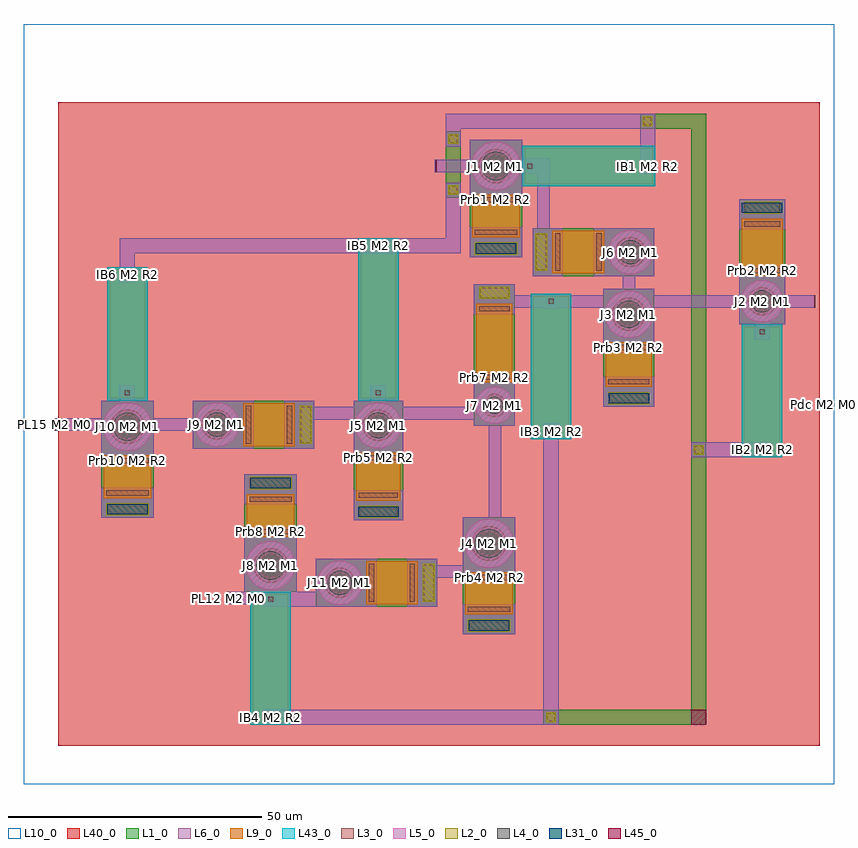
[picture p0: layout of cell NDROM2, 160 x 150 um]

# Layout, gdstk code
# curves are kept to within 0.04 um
from math import pi, radians
import gdstk
lib = gdstk.Library(unit=1e-6, precision=5e-10)
def R(c, l, rs):  # rectangles x0, y0, x1, y1
    for r in rs: c.add(gdstk.rectangle(r[:2], r[2:], *l))
def P(c, l, *ps):  # polygons
    for p in ps: c.add(gdstk.Polygon(p, *l))
L1_0 = (1, 0)
L2_0 = (2, 0)
L3_0 = (3, 0)
L4_0 = (4, 0)
L5_0 = (5, 0)
L6_0 = (6, 0)
L9_0 = (9, 0)
L10_0 = (10, 0)
L31_0 = (31, 0)
L40_0 = (40, 0)
L43_0 = (43, 0)
L45_0 = (45, 0)

pwrcell_pcell_0bb1 = lib.new_cell('pwrcell_pcell_0bb1')
R(pwrcell_pcell_0bb1, L1_0, [(-4,-1.5,4,24.7855)])
R(pwrcell_pcell_0bb1, L3_0, [(-0.5,-0.5,0.5,0.5), (-0.5,22.7855,0.5,23.7855)])
R(pwrcell_pcell_0bb1, L6_0, [(-1.5,-1.5,1.5,1.5), (-1.5,21.7855,1.5,24.7855)])
R(pwrcell_pcell_0bb1, L9_0, [(-3.5,-1,3.5,24.2855), (-1,-1,1,1), (-1,22.2855,1,24.2855)])
R(pwrcell_pcell_0bb1, L43_0, [(-4,-1.5,4,24.7855)])

pwrcell_pcell_d53e = lib.new_cell('pwrcell_pcell_d53e')
R(pwrcell_pcell_d53e, L1_0, [(-4,-1.5,4,30.5575)])
R(pwrcell_pcell_d53e, L3_0, [(-0.5,-0.5,0.5,0.5), (-0.5,28.5575,0.5,29.5575)])
R(pwrcell_pcell_d53e, L6_0, [(-1.5,-1.5,1.5,1.5), (-1.5,27.5575,1.5,30.5575)])
R(pwrcell_pcell_d53e, L9_0, [(-3.5,-1,3.5,30.0575), (-1,-1,1,1), (-1,28.0575,1,30.0575)])
R(pwrcell_pcell_d53e, L43_0, [(-4,-1.5,4,30.5575)])

jj_pcell_aa5c = lib.new_cell('jj_pcell_aa5c')
R(jj_pcell_aa5c, L1_0, [(-5.171,-5.171,5.171,5.171)])
P(jj_pcell_aa5c, L3_0, [(0,-3.424),(-0.668,-3.3585),(-1.3105,-3.1635),(-1.9025,-2.8465),(-2.421,-2.421),(-2.8465,-1.9025),(-3.1635,-1.3105),(-3.3585,-0.668),(-3.424,0),(-3.3585,0.668),(-3.1635,1.3105),(-2.8465,1.9025),(-2.421,2.421),(-1.9025,2.8465),(-1.3105,3.1635),(-0.668,3.3585),(0,3.424),(0.668,3.3585),(1.3105,3.1635),(1.9025,2.8465),(2.421,2.421),(2.8465,1.9025),(3.1635,1.3105),(3.3585,0.668),(3.424,0),(3.3585,-0.668),(3.1635,-1.3105),(2.8465,-1.9025),(2.421,-2.421),(1.9025,-2.8465),(1.3105,-3.1635),(0.668,-3.3585)])
P(jj_pcell_aa5c, L4_0, [(0,-2.821),(-0.5505,-2.767),(-1.0795,-2.6065),(-1.5675,-2.3455),(-1.9945,-1.9945),(-2.3455,-1.5675),(-2.6065,-1.0795),(-2.767,-0.5505),(-2.821,0),(-2.767,0.5505),(-2.6065,1.0795),(-2.3455,1.5675),(-1.9945,1.9945),(-1.5675,2.3455),(-1.0795,2.6065),(-0.5505,2.767),(0,2.821),(0.5505,2.767),(1.0795,2.6065),(1.5675,2.3455),(1.9945,1.9945),(2.3455,1.5675),(2.6065,1.0795),(2.767,0.5505),(2.821,0),(2.767,-0.5505),(2.6065,-1.0795),(2.3455,-1.5675),(1.9945,-1.9945),(1.5675,-2.3455),(1.0795,-2.6065),(0.5505,-2.767)])
P(jj_pcell_aa5c, L5_0, [(0,-4.871),(-0.9505,-4.7775),(-1.864,-4.5),(-2.706,-4.05),(-3.4445,-3.4445),(-4.05,-2.706),(-4.5,-1.864),(-4.7775,-0.9505),(-4.871,0),(-4.7775,0.9505),(-4.5,1.864),(-4.05,2.706),(-3.4445,3.4445),(-2.706,4.05),(-1.864,4.5),(-0.9505,4.7775),(0,4.871),(0.9505,4.7775),(1.864,4.5),(2.706,4.05),(3.4445,3.4445),(4.05,2.706),(4.2825,2.271),(0,2.271),(-0.443,2.2275),(-0.869,2.098),(-1.2615,1.8885),(-1.606,1.606),(-1.8885,1.2615),(-2.098,0.869),(-2.2275,0.443),(-2.271,0),(-2.2275,-0.443),(-2.098,-0.869),(-1.8885,-1.2615),(-1.606,-1.606),(-1.2615,-1.8885),(-0.869,-2.098),(-0.443,-2.2275),(0,-2.271),(0.443,-2.2275),(0.869,-2.098),(1.2615,-1.8885),(1.606,-1.606),(1.8885,-1.2615),(2.098,-0.869),(2.2275,-0.443),(2.271,0),(2.2275,0.443),(2.098,0.869),(1.8885,1.2615),(1.606,1.606),(1.2615,1.8885),(0.869,2.098),(0.443,2.2275),(0,2.271),(4.2825,2.271),(4.5,1.864),(4.7775,0.9505),(4.871,0),(4.7775,-0.9505),(4.5,-1.864),(4.05,-2.706),(3.4445,-3.4445),(2.706,-4.05),(1.864,-4.5),(0.9505,-4.7775)])
R(jj_pcell_aa5c, L6_0, [(-5.171,-5.171,5.171,5.171)])

jj_s_pcell_34fb = lib.new_cell('jj_s_pcell_34fb')
R(jj_s_pcell_34fb, L1_0, [(-5.171,-17.9765,5.171,-14.5765), (-5.171,-17.9765,5.171,5.171), (-5.171,-14.5765,5.171,-5.171)])
R(jj_s_pcell_34fb, L2_0, [(-4.171,-17.4765,4.171,-15.0765)])
R(jj_s_pcell_34fb, L3_0, [(-3.971,-17.2765,3.971,-15.2765), (-4.171,-13.5765,4.171,-12.5765), (-4.171,-7.171,4.171,-6.171)])
R(jj_s_pcell_34fb, L6_0, [(-5.171,-17.9765,5.171,-12.0765), (-5.171,-7.671,5.171,-5.171), (-5.171,-7.671,5.171,5.171)])
R(jj_s_pcell_34fb, L9_0, [(-4.671,-14.0765,4.671,-5.671)])
jj_s_pcell_34fb.add(gdstk.Reference(jj_pcell_aa5c, (0,0)))

jj_pcell_67a0 = lib.new_cell('jj_pcell_67a0')
R(jj_pcell_67a0, L1_0, [(-4.7435,-4.7435,4.7435,4.7435)])
P(jj_pcell_67a0, L3_0, [(0,-2.9965),(-0.5845,-2.939),(-1.1465,-2.7685),(-1.665,-2.491),(-2.119,-2.119),(-2.491,-1.665),(-2.7685,-1.1465),(-2.939,-0.5845),(-2.9965,0),(-2.939,0.5845),(-2.7685,1.1465),(-2.491,1.665),(-2.119,2.119),(-1.665,2.491),(-1.1465,2.7685),(-0.5845,2.939),(0,2.9965),(0.5845,2.939),(1.1465,2.7685),(1.665,2.491),(2.119,2.119),(2.491,1.665),(2.7685,1.1465),(2.939,0.5845),(2.9965,0),(2.939,-0.5845),(2.7685,-1.1465),(2.491,-1.665),(2.119,-2.119),(1.665,-2.491),(1.1465,-2.7685),(0.5845,-2.939)])
P(jj_pcell_67a0, L4_0, [(0,-2.3935),(-0.467,-2.3475),(-0.916,-2.2115),(-1.33,-1.99),(-1.6925,-1.6925),(-1.99,-1.33),(-2.2115,-0.916),(-2.3475,-0.467),(-2.3935,0),(-2.3475,0.467),(-2.2115,0.916),(-1.99,1.33),(-1.6925,1.6925),(-1.33,1.99),(-0.916,2.2115),(-0.467,2.3475),(0,2.3935),(0.467,2.3475),(0.916,2.2115),(1.33,1.99),(1.6925,1.6925),(1.99,1.33),(2.2115,0.916),(2.3475,0.467),(2.3935,0),(2.3475,-0.467),(2.2115,-0.916),(1.99,-1.33),(1.6925,-1.6925),(1.33,-1.99),(0.916,-2.2115),(0.467,-2.3475)])
P(jj_pcell_67a0, L5_0, [(0,-4.4435),(-0.867,-4.358),(-1.7005,-4.1055),(-2.4685,-3.6945),(-3.142,-3.142),(-3.6945,-2.4685),(-4.1055,-1.7005),(-4.358,-0.867),(-4.4435,0),(-4.358,0.867),(-4.1055,1.7005),(-3.6945,2.4685),(-3.142,3.142),(-2.4685,3.6945),(-1.7005,4.1055),(-0.867,4.358),(0,4.4435),(0.867,4.358),(1.7005,4.1055),(2.4685,3.6945),(3.142,3.142),(3.6945,2.4685),(4.029,1.8435),(0,1.8435),(-0.3595,1.808),(-1.024,1.533),(-1.533,1.024),(-1.808,0.3595),(-1.8435,0),(-1.703,-0.7055),(-1.3035,-1.3035),(-1.024,-1.533),(-0.3595,-1.808),(0.3595,-1.808),(1.024,-1.533),(1.533,-1.024),(1.703,-0.7055),(1.8435,0),(1.808,0.3595),(1.533,1.024),(1.024,1.533),(0.3595,1.808),(0,1.8435),(4.029,1.8435),(4.358,0.867),(4.4435,0),(4.358,-0.867),(4.1055,-1.7005),(3.6945,-2.4685),(3.142,-3.142),(2.4685,-3.6945),(1.7005,-4.1055),(0.867,-4.358)])
R(jj_pcell_67a0, L6_0, [(-4.7435,-4.7435,4.7435,4.7435)])

jj_s_pcell_e6a0 = lib.new_cell('jj_s_pcell_e6a0')
R(jj_s_pcell_e6a0, L1_0, [(-4.744,-19.2265,4.7435,4.744), (-4.7435,-19.2265,4.7435,-15.8265), (-4.7435,-15.8265,4.7435,-4.7435)])
R(jj_s_pcell_e6a0, L2_0, [(-3.7435,-18.7265,3.7435,-16.3265)])
R(jj_s_pcell_e6a0, L3_0, [(-3.5435,-18.5265,3.5435,-16.5265), (-3.7435,-14.8265,3.7435,-13.8265), (-3.7435,-6.7435,3.7435,-5.7435)])
R(jj_s_pcell_e6a0, L6_0, [(-4.7435,-19.2265,4.7435,-13.3265), (-4.744,-7.2435,4.7435,4.744), (-4.7435,-7.2435,4.7435,-4.7435)])
R(jj_s_pcell_e6a0, L9_0, [(-4.2435,-15.3265,4.2435,-5.2435)])
jj_s_pcell_e6a0.add(gdstk.Reference(jj_pcell_67a0, (0,0)))

jj_pcell_7414 = lib.new_cell('jj_pcell_7414')
R(jj_pcell_7414, L1_0, [(-4.8795,-4.8795,4.8795,4.8795)])
P(jj_pcell_7414, L3_0, [(0,-3.1325),(-0.611,-3.0725),(-1.199,-2.894),(-1.7405,-2.604),(-2.215,-2.215),(-2.604,-1.7405),(-2.894,-1.199),(-3.0725,-0.611),(-3.1325,0),(-3.0725,0.611),(-2.894,1.199),(-2.604,1.7405),(-2.215,2.215),(-1.7405,2.604),(-1.199,2.894),(-0.611,3.0725),(0,3.1325),(0.611,3.0725),(1.199,2.894),(1.7405,2.604),(2.215,2.215),(2.604,1.7405),(2.894,1.199),(3.0725,0.611),(3.1325,0),(3.0725,-0.611),(2.894,-1.199),(2.604,-1.7405),(2.215,-2.215),(1.7405,-2.604),(1.199,-2.894),(0.611,-3.0725)])
P(jj_pcell_7414, L4_0, [(0,-2.5295),(-0.4935,-2.481),(-0.968,-2.337),(-1.4055,-2.103),(-1.7885,-1.7885),(-2.103,-1.4055),(-2.337,-0.968),(-2.481,-0.4935),(-2.5295,0),(-2.481,0.4935),(-2.337,0.968),(-2.103,1.4055),(-1.7885,1.7885),(-1.4055,2.103),(-0.968,2.337),(-0.4935,2.481),(0,2.5295),(0.4935,2.481),(0.968,2.337),(1.4055,2.103),(1.7885,1.7885),(2.103,1.4055),(2.337,0.968),(2.481,0.4935),(2.5295,0),(2.481,-0.4935),(2.337,-0.968),(2.103,-1.4055),(1.7885,-1.7885),(1.4055,-2.103),(0.968,-2.337),(0.4935,-2.481)])
P(jj_pcell_7414, L5_0, [(0,-4.5795),(-0.8935,-4.4915),(-1.7525,-4.231),(-2.544,-3.8075),(-3.238,-3.238),(-3.8075,-2.544),(-4.231,-1.7525),(-4.4915,-0.8935),(-4.5795,0),(-4.4915,0.8935),(-4.231,1.7525),(-3.8075,2.544),(-3.238,3.238),(-2.544,3.8075),(-1.7525,4.231),(-0.8935,4.4915),(0,4.5795),(0.8935,4.4915),(1.7525,4.231),(2.544,3.8075),(3.238,3.238),(3.8075,2.544),(4.1095,1.9795),(0,1.9795),(-0.7575,1.829),(-1.1,1.646),(-1.646,1.1),(-1.829,0.7575),(-1.9795,0),(-1.829,-0.7575),(-1.3995,-1.3995),(-0.7575,-1.829),(0,-1.9795),(0.386,-1.9415),(1.1,-1.646),(1.646,-1.1),(1.829,-0.7575),(1.9795,0),(1.9415,0.386),(1.646,1.1),(1.1,1.646),(0.7575,1.829),(0,1.9795),(4.1095,1.9795),(4.4915,0.8935),(4.5795,0),(4.4915,-0.8935),(4.231,-1.7525),(3.8075,-2.544),(3.238,-3.238),(2.544,-3.8075),(1.7525,-4.231),(0.8935,-4.4915)])
R(jj_pcell_7414, L6_0, [(-4.8795,-4.8795,4.8795,4.8795)])

jj_s_pcell_0a7e = lib.new_cell('jj_s_pcell_0a7e')
R(jj_s_pcell_0a7e, L1_0, [(-4.8795,-18.7495,4.8795,-15.3495), (-4.8795,-18.7495,4.8795,4.8795), (-4.8795,-15.3495,4.8795,-4.8795)])
R(jj_s_pcell_0a7e, L2_0, [(-3.8795,-18.2495,3.8795,-15.8495)])
R(jj_s_pcell_0a7e, L3_0, [(-3.6795,-18.0495,3.6795,-16.0495), (-3.8795,-14.3495,3.8795,-13.3495), (-3.8795,-6.8795,3.8795,-5.8795)])
R(jj_s_pcell_0a7e, L6_0, [(-4.8795,-18.7495,4.8795,-12.8495), (-4.8795,-7.3795,4.8795,-4.8795), (-4.8795,-7.3795,4.8795,4.8795)])
R(jj_s_pcell_0a7e, L9_0, [(-4.3795,-14.8495,4.3795,-5.3795)])
jj_s_pcell_0a7e.add(gdstk.Reference(jj_pcell_7414, (0,0)))

jj_pcell_0a78 = lib.new_cell('jj_pcell_0a78')
R(jj_pcell_0a78, L1_0, [(-5.2155,-5.2155,5.2155,5.2155)])
P(jj_pcell_0a78, L3_0, [(0,-3.4685),(-0.6765,-3.402),(-1.3275,-3.2045),(-1.927,-2.8835),(-2.4525,-2.4525),(-2.8835,-1.927),(-3.2045,-1.3275),(-3.402,-0.6765),(-3.4685,0),(-3.402,0.6765),(-3.2045,1.3275),(-2.8835,1.927),(-2.4525,2.4525),(-1.927,2.8835),(-1.3275,3.2045),(-0.6765,3.402),(0,3.4685),(0.6765,3.402),(1.3275,3.2045),(1.927,2.8835),(2.4525,2.4525),(2.8835,1.927),(3.2045,1.3275),(3.402,0.6765),(3.4685,0),(3.402,-0.6765),(3.2045,-1.3275),(2.8835,-1.927),(2.4525,-2.4525),(1.927,-2.8835),(1.3275,-3.2045),(0.6765,-3.402)])
P(jj_pcell_0a78, L4_0, [(0,-2.8655),(-0.559,-2.8105),(-1.0965,-2.6475),(-1.592,-2.3825),(-2.026,-2.026),(-2.3825,-1.592),(-2.6475,-1.0965),(-2.8105,-0.559),(-2.8655,0),(-2.8105,0.559),(-2.6475,1.0965),(-2.3825,1.592),(-2.026,2.026),(-1.592,2.3825),(-1.0965,2.6475),(-0.559,2.8105),(0,2.8655),(0.559,2.8105),(1.0965,2.6475),(1.592,2.3825),(2.026,2.026),(2.3825,1.592),(2.6475,1.0965),(2.8105,0.559),(2.8655,0),(2.8105,-0.559),(2.6475,-1.0965),(2.3825,-1.592),(2.026,-2.026),(1.592,-2.3825),(1.0965,-2.6475),(0.559,-2.8105)])
P(jj_pcell_0a78, L5_0, [(0,-4.9155),(-0.959,-4.821),(-1.881,-4.5415),(-2.731,-4.087),(-3.476,-3.476),(-4.087,-2.731),(-4.5415,-1.881),(-4.821,-0.959),(-4.9155,0),(-4.821,0.959),(-4.5415,1.881),(-4.087,2.731),(-3.476,3.476),(-2.731,4.087),(-1.881,4.5415),(-0.959,4.821),(0,4.9155),(0.959,4.821),(1.881,4.5415),(2.731,4.087),(3.476,3.476),(4.087,2.731),(4.309,2.3155),(0,2.3155),(-0.4515,2.271),(-0.886,2.139),(-1.2865,1.9255),(-1.6375,1.6375),(-1.9255,1.2865),(-2.139,0.886),(-2.271,0.4515),(-2.3155,0),(-2.271,-0.4515),(-2.139,-0.886),(-1.9255,-1.2865),(-1.6375,-1.6375),(-1.2865,-1.9255),(-0.886,-2.139),(-0.4515,-2.271),(0,-2.3155),(0.4515,-2.271),(0.886,-2.139),(1.2865,-1.9255),(1.6375,-1.6375),(1.9255,-1.2865),(2.139,-0.886),(2.271,-0.4515),(2.3155,0),(2.271,0.4515),(2.139,0.886),(1.9255,1.2865),(1.6375,1.6375),(1.2865,1.9255),(0.886,2.139),(0.4515,2.271),(0,2.3155),(4.309,2.3155),(4.5415,1.881),(4.821,0.959),(4.9155,0),(4.821,-0.959),(4.5415,-1.881),(4.087,-2.731),(3.476,-3.476),(2.731,-4.087),(1.881,-4.5415),(0.959,-4.821)])
R(jj_pcell_0a78, L6_0, [(-5.2155,-5.2155,5.2155,5.2155)])

jj_s_pcell_64e8 = lib.new_cell('jj_s_pcell_64e8')
R(jj_s_pcell_64e8, L1_0, [(-5.216,-17.8825,5.2155,5.2155), (-5.2155,-17.8825,5.2155,-14.4825), (-5.2155,-14.4825,5.2155,-5.2155)])
R(jj_s_pcell_64e8, L2_0, [(-4.2155,-17.3825,4.2155,-14.9825)])
R(jj_s_pcell_64e8, L3_0, [(-4.0155,-17.1825,4.0155,-15.1825), (-4.2155,-13.4825,4.2155,-12.4825), (-4.2155,-7.2155,4.2155,-6.2155)])
R(jj_s_pcell_64e8, L6_0, [(-5.2155,-17.8825,5.2155,-11.9825), (-5.216,-7.7155,5.2155,5.216), (-5.2155,-7.7155,5.2155,-5.2155)])
R(jj_s_pcell_64e8, L9_0, [(-4.7155,-13.9825,4.7155,-5.7155)])
jj_s_pcell_64e8.add(gdstk.Reference(jj_pcell_0a78, (0,0)))

jj_pcell_78ef = lib.new_cell('jj_pcell_78ef')
R(jj_pcell_78ef, L1_0, [(-4.0425,-4.0425,4.0425,4.0425)])
P(jj_pcell_78ef, L3_0, [(0,-2.2955),(-0.448,-2.2515),(-0.878,-2.1205),(-1.275,-1.909),(-1.6235,-1.6235),(-1.909,-1.275),(-2.1205,-0.878),(-2.2515,-0.448),(-2.2955,0),(-2.2515,0.448),(-2.1205,0.878),(-1.909,1.275),(-1.6235,1.6235),(-1.275,1.909),(-0.878,2.1205),(-0.448,2.2515),(0,2.2955),(0.448,2.2515),(0.878,2.1205),(1.275,1.909),(1.6235,1.6235),(1.909,1.275),(2.1205,0.878),(2.2515,0.448),(2.2955,0),(2.2515,-0.448),(2.1205,-0.878),(1.909,-1.275),(1.6235,-1.6235),(1.275,-1.909),(0.878,-2.1205),(0.448,-2.2515)])
P(jj_pcell_78ef, L4_0, [(0,-1.6925),(-0.6475,-1.5635),(-1.197,-1.197),(-1.5635,-0.6475),(-1.6925,0),(-1.5635,0.6475),(-1.197,1.197),(-0.6475,1.5635),(0,1.6925),(0.6475,1.5635),(1.197,1.197),(1.5635,0.6475),(1.6925,0),(1.5635,-0.6475),(1.197,-1.197),(0.6475,-1.5635)])
P(jj_pcell_78ef, L5_0, [(0,-3.7425),(-0.73,-3.6705),(-1.432,-3.4575),(-2.079,-3.112),(-2.6465,-2.6465),(-3.112,-2.079),(-3.4575,-1.432),(-3.6705,-0.73),(-3.7425,0),(-3.6705,0.73),(-3.4575,1.432),(-3.112,2.079),(-2.6465,2.6465),(-2.079,3.112),(-1.432,3.4575),(-0.73,3.6705),(0,3.7425),(0.73,3.6705),(1.432,3.4575),(2.079,3.112),(2.6465,2.6465),(3.112,2.079),(3.4575,1.432),(3.5455,1.1425),(0,1.1425),(-0.437,1.0555),(-0.808,0.808),(-0.95,0.6345),(-1.1205,0.223),(-1.1205,-0.223),(-0.95,-0.6345),(-0.808,-0.808),(-0.6345,-0.95),(-0.223,-1.1205),(0.223,-1.1205),(0.6345,-0.95),(0.808,-0.808),(1.0555,-0.437),(1.1425,0),(1.1205,0.223),(0.95,0.6345),(0.6345,0.95),(0.223,1.1205),(0,1.1425),(3.5455,1.1425),(3.6705,0.73),(3.7425,0),(3.6705,-0.73),(3.4575,-1.432),(3.112,-2.079),(2.6465,-2.6465),(2.079,-3.112),(1.432,-3.4575),(0.73,-3.6705)])
R(jj_pcell_78ef, L6_0, [(-4.0425,-4.0425,4.0425,4.0425)])

jj_s_pcell_74b5 = lib.new_cell('jj_s_pcell_74b5')
R(jj_s_pcell_74b5, L1_0, [(-4.0425,-23.938,4.0425,-20.538), (-4.0425,-23.938,4.0425,4.0425), (-4.0425,-20.538,4.0425,-4.0425)])
R(jj_s_pcell_74b5, L2_0, [(-3.0425,-23.438,3.0425,-21.038)])
R(jj_s_pcell_74b5, L3_0, [(-2.8425,-23.238,2.8425,-21.238), (-3.0425,-19.538,3.0425,-18.538), (-3.0425,-6.0425,3.0425,-5.0425)])
R(jj_s_pcell_74b5, L6_0, [(-4.0425,-23.938,4.0425,-18.038), (-4.0425,-6.5425,4.0425,-4.0425), (-4.0425,-6.5425,4.0425,4.0425)])
R(jj_s_pcell_74b5, L9_0, [(-3.5425,-20.038,3.5425,-4.5425)])
jj_s_pcell_74b5.add(gdstk.Reference(jj_pcell_78ef, (0,0)))

jj_pcell_ac95 = lib.new_cell('jj_pcell_ac95')
R(jj_pcell_ac95, L1_0, [(-5.056,-5.056,5.056,5.056)])
P(jj_pcell_ac95, L3_0, [(0,-3.309),(-0.6455,-3.2455),(-1.266,-3.057),(-1.8385,-2.7515),(-2.34,-2.34),(-2.7515,-1.8385),(-3.057,-1.266),(-3.2455,-0.6455),(-3.309,0),(-3.2455,0.6455),(-3.057,1.266),(-2.7515,1.8385),(-2.34,2.34),(-1.8385,2.7515),(-1.266,3.057),(-0.6455,3.2455),(0,3.309),(0.6455,3.2455),(1.266,3.057),(1.8385,2.7515),(2.34,2.34),(2.7515,1.8385),(3.057,1.266),(3.2455,0.6455),(3.309,0),(3.2455,-0.6455),(3.057,-1.266),(2.7515,-1.8385),(2.34,-2.34),(1.8385,-2.7515),(1.266,-3.057),(0.6455,-3.2455)])
P(jj_pcell_ac95, L4_0, [(0,-2.706),(-0.528,-2.654),(-1.0355,-2.5),(-1.5035,-2.25),(-1.9135,-1.9135),(-2.25,-1.5035),(-2.5,-1.0355),(-2.654,-0.528),(-2.706,0),(-2.654,0.528),(-2.5,1.0355),(-2.25,1.5035),(-1.9135,1.9135),(-1.5035,2.25),(-1.0355,2.5),(-0.528,2.654),(0,2.706),(0.528,2.654),(1.0355,2.5),(1.5035,2.25),(1.9135,1.9135),(2.25,1.5035),(2.5,1.0355),(2.654,0.528),(2.706,0),(2.654,-0.528),(2.5,-1.0355),(2.25,-1.5035),(1.9135,-1.9135),(1.5035,-2.25),(1.0355,-2.5),(0.528,-2.654)])
P(jj_pcell_ac95, L5_0, [(0,-4.756),(-0.928,-4.6645),(-1.82,-4.394),(-2.6425,-3.9545),(-3.363,-3.363),(-3.9545,-2.6425),(-4.394,-1.82),(-4.6645,-0.928),(-4.756,0),(-4.6645,0.928),(-4.394,1.82),(-3.9545,2.6425),(-3.363,3.363),(-2.6425,3.9545),(-1.82,4.394),(-0.928,4.6645),(0,4.756),(0.928,4.6645),(1.82,4.394),(2.6425,3.9545),(3.363,3.363),(3.9545,2.6425),(4.2145,2.156),(0,2.156),(-0.4205,2.1145),(-0.825,1.992),(-1.198,1.7925),(-1.5245,1.5245),(-1.7925,1.198),(-1.992,0.825),(-2.1145,0.4205),(-2.156,0),(-2.1145,-0.4205),(-1.992,-0.825),(-1.7925,-1.198),(-1.5245,-1.5245),(-1.198,-1.7925),(-0.825,-1.992),(-0.4205,-2.1145),(0,-2.156),(0.4205,-2.1145),(0.825,-1.992),(1.198,-1.7925),(1.5245,-1.5245),(1.7925,-1.198),(1.992,-0.825),(2.1145,-0.4205),(2.156,0),(2.1145,0.4205),(1.992,0.825),(1.7925,1.198),(1.5245,1.5245),(1.198,1.7925),(0.825,1.992),(0.4205,2.1145),(0,2.156),(4.2145,2.156),(4.394,1.82),(4.6645,0.928),(4.756,0),(4.6645,-0.928),(4.394,-1.82),(3.9545,-2.6425),(3.363,-3.363),(2.6425,-3.9545),(1.82,-4.394),(0.928,-4.6645)])
R(jj_pcell_ac95, L6_0, [(-5.056,-5.056,5.056,5.056)])

jj_s_pcell_bb5e = lib.new_cell('jj_s_pcell_bb5e')
R(jj_s_pcell_bb5e, L1_0, [(-5.056,-18.247,5.056,-14.847), (-5.0555,-18.247,5.056,5.0555), (-5.056,-14.847,5.056,-5.056)])
R(jj_s_pcell_bb5e, L2_0, [(-4.056,-17.747,4.056,-15.347)])
R(jj_s_pcell_bb5e, L3_0, [(-3.856,-17.547,3.856,-15.547), (-4.056,-13.847,4.056,-12.847), (-4.056,-7.056,4.056,-6.056)])
R(jj_s_pcell_bb5e, L6_0, [(-5.056,-18.247,5.056,-12.347), (-5.056,-7.556,5.056,-5.056), (-5.0555,-7.556,5.056,5.0555)])
R(jj_s_pcell_bb5e, L9_0, [(-4.556,-14.347,4.556,-5.556)])
jj_s_pcell_bb5e.add(gdstk.Reference(jj_pcell_ac95, (0,0)))

jj_pcell_f3ba = lib.new_cell('jj_pcell_f3ba')
R(jj_pcell_f3ba, L1_0, [(-4.7235,-4.7235,4.7235,4.7235)])
P(jj_pcell_f3ba, L3_0, [(0,-2.9765),(-0.5805,-2.9195),(-1.1395,-2.75),(-1.6535,-2.475),(-2.105,-2.105),(-2.475,-1.6535),(-2.75,-1.1395),(-2.9195,-0.5805),(-2.9765,0),(-2.9195,0.5805),(-2.75,1.1395),(-2.475,1.6535),(-2.105,2.105),(-1.6535,2.475),(-1.1395,2.75),(-0.5805,2.9195),(0,2.9765),(0.5805,2.9195),(1.1395,2.75),(1.6535,2.475),(2.105,2.105),(2.475,1.6535),(2.75,1.1395),(2.9195,0.5805),(2.9765,0),(2.9195,-0.5805),(2.75,-1.1395),(2.475,-1.6535),(2.105,-2.105),(1.6535,-2.475),(1.1395,-2.75),(0.5805,-2.9195)])
P(jj_pcell_f3ba, L4_0, [(0,-2.3735),(-0.463,-2.328),(-0.9085,-2.193),(-1.3185,-1.9735),(-1.6785,-1.6785),(-1.9735,-1.3185),(-2.193,-0.9085),(-2.328,-0.463),(-2.3735,0),(-2.328,0.463),(-2.193,0.9085),(-1.9735,1.3185),(-1.6785,1.6785),(-1.3185,1.9735),(-0.9085,2.193),(-0.463,2.328),(0,2.3735),(0.463,2.328),(0.9085,2.193),(1.3185,1.9735),(1.6785,1.6785),(1.9735,1.3185),(2.193,0.9085),(2.328,0.463),(2.3735,0),(2.328,-0.463),(2.193,-0.9085),(1.9735,-1.3185),(1.6785,-1.6785),(1.3185,-1.9735),(0.9085,-2.193),(0.463,-2.328)])
P(jj_pcell_f3ba, L5_0, [(0,-4.4235),(-0.863,-4.3385),(-1.693,-4.087),(-2.4575,-3.678),(-3.128,-3.128),(-3.678,-2.4575),(-4.087,-1.693),(-4.3385,-0.863),(-4.4235,0),(-4.3385,0.863),(-4.087,1.693),(-3.678,2.4575),(-3.128,3.128),(-2.4575,3.678),(-1.693,4.087),(-0.863,4.3385),(0,4.4235),(0.863,4.3385),(1.693,4.087),(2.4575,3.678),(3.128,3.128),(3.678,2.4575),(4.0175,1.8235),(0,1.8235),(-0.3555,1.7885),(-1.013,1.516),(-1.516,1.013),(-1.7885,0.3555),(-1.7885,-0.3555),(-1.6845,-0.698),(-1.2895,-1.2895),(-0.698,-1.6845),(-0.3555,-1.7885),(0.3555,-1.7885),(0.698,-1.6845),(1.2895,-1.2895),(1.6845,-0.698),(1.7885,-0.3555),(1.7885,0.3555),(1.516,1.013),(1.2895,1.2895),(0.698,1.6845),(0,1.8235),(4.0175,1.8235),(4.3385,0.863),(4.4235,0),(4.3385,-0.863),(4.087,-1.693),(3.678,-2.4575),(3.128,-3.128),(2.4575,-3.678),(1.693,-4.087),(0.863,-4.3385)])
R(jj_pcell_f3ba, L6_0, [(-4.7235,-4.7235,4.7235,4.7235)])

jj_s_pcell_7e54 = lib.new_cell('jj_s_pcell_7e54')
R(jj_s_pcell_7e54, L1_0, [(-4.7235,-19.305,4.7235,-15.905), (-4.7235,-19.305,4.7235,4.7235), (-4.7235,-15.905,4.7235,-4.7235)])
R(jj_s_pcell_7e54, L2_0, [(-3.7235,-18.805,3.7235,-16.405)])
R(jj_s_pcell_7e54, L3_0, [(-3.5235,-18.605,3.5235,-16.605), (-3.7235,-14.905,3.7235,-13.905), (-3.7235,-6.7235,3.7235,-5.7235)])
R(jj_s_pcell_7e54, L6_0, [(-4.7235,-19.305,4.7235,-13.405), (-4.7235,-7.2235,4.7235,-4.7235), (-4.7235,-7.2235,4.7235,4.7235)])
R(jj_s_pcell_7e54, L9_0, [(-4.2235,-15.405,4.2235,-5.2235)])
jj_s_pcell_7e54.add(gdstk.Reference(jj_pcell_f3ba, (0,0)))

ind2_pcell_750f = lib.new_cell('ind2_pcell_750f')
R(ind2_pcell_750f, L6_0, [(-7,-1.25,-6.999,1.25), (-7,-1.25,7,1.25), (6.999,-1.25,7,1.25)])

pwrcell_pcell_a26d = lib.new_cell('pwrcell_pcell_a26d')
R(pwrcell_pcell_a26d, L1_0, [(-4,-1.5,4,27.1835)])
R(pwrcell_pcell_a26d, L3_0, [(-0.5,-0.5,0.5,0.5), (-0.5,25.1835,0.5,26.1835)])
R(pwrcell_pcell_a26d, L6_0, [(-1.5,-1.5,1.5,1.5), (-1.5,24.1835,1.5,27.1835)])
R(pwrcell_pcell_a26d, L9_0, [(-3.5,-1,3.5,26.6835), (-1,-1,1,1), (-1,24.6835,1,26.6835)])
R(pwrcell_pcell_a26d, L43_0, [(-4,-1.5,4,27.1835)])

ind2_pcell_3b20 = lib.new_cell('ind2_pcell_3b20')
R(ind2_pcell_3b20, L6_0, [(-2.5,-1.25,-2.499,1.25), (-2.5,-1.25,2.5,1.25), (2.499,-1.25,2.5,1.25)])

jj_pcell_084e = lib.new_cell('jj_pcell_084e')
R(jj_pcell_084e, L1_0, [(-4.535,-4.535,4.535,4.535)])
P(jj_pcell_084e, L3_0, [(0,-2.788),(-0.5445,-2.7345),(-1.0665,-2.5755),(-1.549,-2.3185),(-1.9715,-1.9715),(-2.3185,-1.549),(-2.5755,-1.0665),(-2.7345,-0.5445),(-2.788,0),(-2.7345,0.5445),(-2.5755,1.0665),(-2.3185,1.549),(-1.9715,1.9715),(-1.549,2.3185),(-1.0665,2.5755),(-0.5445,2.7345),(0,2.788),(0.5445,2.7345),(1.0665,2.5755),(1.549,2.3185),(1.9715,1.9715),(2.3185,1.549),(2.5755,1.0665),(2.7345,0.5445),(2.788,0),(2.7345,-0.5445),(2.5755,-1.0665),(2.3185,-1.549),(1.9715,-1.9715),(1.549,-2.3185),(1.0665,-2.5755),(0.5445,-2.7345)])
P(jj_pcell_084e, L4_0, [(0,-2.185),(-0.4265,-2.143),(-0.836,-2.0185),(-1.214,-1.817),(-1.545,-1.545),(-1.817,-1.214),(-2.0185,-0.836),(-2.143,-0.4265),(-2.185,0),(-2.143,0.4265),(-2.0185,0.836),(-1.817,1.214),(-1.545,1.545),(-1.214,1.817),(-0.836,2.0185),(-0.4265,2.143),(0,2.185),(0.4265,2.143),(0.836,2.0185),(1.214,1.817),(1.545,1.545),(1.817,1.214),(2.0185,0.836),(2.143,0.4265),(2.185,0),(2.143,-0.4265),(2.0185,-0.836),(1.817,-1.214),(1.545,-1.545),(1.214,-1.817),(0.836,-2.0185),(0.4265,-2.143)])
P(jj_pcell_084e, L5_0, [(0,-4.235),(-0.826,-4.1535),(-1.6205,-3.9125),(-2.353,-3.5215),(-2.9945,-2.9945),(-3.5215,-2.353),(-3.9125,-1.6205),(-4.1535,-0.826),(-4.235,0),(-4.1535,0.826),(-3.9125,1.6205),(-3.5215,2.353),(-2.9945,2.9945),(-2.353,3.5215),(-1.6205,3.9125),(-0.826,4.1535),(0,4.235),(0.826,4.1535),(1.6205,3.9125),(2.353,3.5215),(2.9945,2.9945),(3.5215,2.353),(3.905,1.635),(0,1.635),(-0.319,1.6035),(-0.9085,1.3595),(-1.3595,0.9085),(-1.6035,0.319),(-1.635,0),(-1.5105,-0.6255),(-1.156,-1.156),(-0.9085,-1.3595),(-0.319,-1.6035),(0.319,-1.6035),(0.9085,-1.3595),(1.3595,-0.9085),(1.5105,-0.6255),(1.635,0),(1.6035,0.319),(1.3595,0.9085),(0.9085,1.3595),(0.319,1.6035),(0,1.635),(3.905,1.635),(4.1535,0.826),(4.235,0),(4.1535,-0.826),(3.9125,-1.6205),(3.5215,-2.353),(2.9945,-2.9945),(2.353,-3.5215),(1.6205,-3.9125),(0.826,-4.1535)])
R(jj_pcell_084e, L6_0, [(-4.535,-4.535,4.535,4.535)])

jj_s_pcell_f0fd = lib.new_cell('jj_s_pcell_f0fd')
R(jj_s_pcell_f0fd, L1_0, [(-4.535,-20.158,4.535,-16.758), (-4.535,-20.158,4.535,4.535), (-4.535,-16.758,4.535,-4.535)])
R(jj_s_pcell_f0fd, L2_0, [(-3.535,-19.658,3.535,-17.258)])
R(jj_s_pcell_f0fd, L3_0, [(-3.335,-19.458,3.335,-17.458), (-3.535,-15.758,3.535,-14.758), (-3.535,-6.535,3.535,-5.535)])
R(jj_s_pcell_f0fd, L6_0, [(-4.535,-20.158,4.535,-14.258), (-4.535,-7.035,4.535,-4.535), (-4.535,-7.035,4.535,4.535)])
R(jj_s_pcell_f0fd, L9_0, [(-4.035,-16.258,4.035,-5.035)])
jj_s_pcell_f0fd.add(gdstk.Reference(jj_pcell_084e, (0,0)))

ind2_pcell_df35 = lib.new_cell('ind2_pcell_df35')
R(ind2_pcell_df35, L6_0, [(-4.625,-1.25,-4.624,1.25), (-4.625,-1.25,4.625,1.25), (4.624,-1.25,4.625,1.25)])

ind2_pcell_3736 = lib.new_cell('ind2_pcell_3736')
R(ind2_pcell_3736, L6_0, [(-9,-1.25,-8.999,1.25), (-9,-1.25,9,1.25), (8.999,-1.25,9,1.25)])

ind2_pcell_cd6a = lib.new_cell('ind2_pcell_cd6a')
R(ind2_pcell_cd6a, L6_0, [(-3.375,-1.25,-3.374,1.25), (-3.375,-1.25,3.375,1.25), (3.374,-1.25,3.375,1.25)])

ind2_pcell_062b = lib.new_cell('ind2_pcell_062b')
R(ind2_pcell_062b, L6_0, [(-8.375,-1.25,-8.374,1.25), (-8.375,-1.25,8.375,1.25), (8.374,-1.25,8.375,1.25)])

ind2_pcell_3783 = lib.new_cell('ind2_pcell_3783')
R(ind2_pcell_3783, L6_0, [(-5.25,-1.25,-5.249,1.25), (-5.25,-1.25,5.25,1.25), (5.249,-1.25,5.25,1.25)])

ind2_pcell_0986 = lib.new_cell('ind2_pcell_0986')
R(ind2_pcell_0986, L6_0, [(-1.25,-1.25,-1.249,1.25), (-1.25,-1.25,1.25,1.25), (1.249,-1.25,1.25,1.25)])

ind2_pcell_4fa6 = lib.new_cell('ind2_pcell_4fa6')
R(ind2_pcell_4fa6, L6_0, [(-3,-1.25,-2.999,1.25), (-3,-1.25,3,1.25), (2.999,-1.25,3,1.25)])

ind2_pcell_1258 = lib.new_cell('ind2_pcell_1258')
R(ind2_pcell_1258, L6_0, [(-6.875,-1.25,-6.874,1.25), (-6.875,-1.25,6.875,1.25), (6.874,-1.25,6.875,1.25)])

ind2_pcell_84ba = lib.new_cell('ind2_pcell_84ba')
R(ind2_pcell_84ba, L6_0, [(-4.25,-1.25,-4.249,1.25), (-4.25,-1.25,4.25,1.25), (4.249,-1.25,4.25,1.25)])

ind2_pcell_ab88 = lib.new_cell('ind2_pcell_ab88')
R(ind2_pcell_ab88, L6_0, [(-5.1,-1.5,-5.099,1.5), (-5.1,-1.5,5.1,1.5), (5.099,-1.5,5.1,1.5)])

ind2_pcell_e4a9 = lib.new_cell('ind2_pcell_e4a9')
R(ind2_pcell_e4a9, L6_0, [(-3.875,-1.25,-3.874,1.25), (-3.875,-1.25,3.875,1.25), (3.874,-1.25,3.875,1.25)])

ndrom2 = lib.new_cell('NDROM2')
R(ndrom2, L1_0, [(-14.6925,-60.726,-11.6925,-57.726), (-33.9965,43.3135,-30.9965,46.3135), (-33.9965,53.4275,-30.9965,56.4275), (4.3645,56.905,7.3645,59.905)])
R(ndrom2, L2_0, [(-14.1425,-60.176,-12.2425,-58.276), (15.003,-7.39,16.903,-5.49), (-33.4465,43.8635,-31.5465,45.7635), (-33.4465,53.9775,-31.5465,55.8775), (4.9145,57.455,6.8145,59.355)])
R(ndrom2, L3_0, [(-13.9425,-59.976,-12.4425,-58.476), (15.203,-7.19,16.703,-5.69), (-33.2465,44.0635,-31.7465,45.5635), (-33.2465,54.1775,-31.7465,55.6775), (5.1145,57.655,6.6145,59.155)])
R(ndrom2, L6_0, [(-14.6925,-60.726,-11.6925,-57.726), (-77.0715,-36.9405,-76.5715,-34.4405), (14.442,-7.9515,29.442,-4.9515), (-111.3215,-2.705,-110.8215,-0.205), (38.7875,21.619,38.988,24.119), (-33.9965,43.3135,-30.9965,46.3135), (-36.155,48.319,-35.655,50.819), (-33.9965,53.4275,-30.9965,56.4275), (4.3645,56.905,7.3645,59.905)])
R(ndrom2, L10_0, [(-117.291,-72.393,42.709,77.607)])
R(ndrom2, L31_0, [(-29.4445,-42.1085,-21.4445,-40.1085), (-51.2985,-19.6405,-43.2985,-17.6405), (-100.8195,-19.159,-92.8195,-17.159), (-72.543,-13.993,-64.543,-11.993), (-1.8485,2.7665,6.1515,4.7665), (-28.092,32.2925,-20.092,34.2925), (24.453,40.327,32.453,42.327)])
R(ndrom2, L40_0, [(-110.5015,-64.8345,39.807,62.146)])
R(ndrom2, L45_0, [(14.478,-60.705,17.442,-57.752)])
ndrom2.add(gdstk.FlexPath([(-45.903,33.846),(-32.4965,33.846),(-32.4965,43.4675)], 3, ends="flush", simple_path=True, layer=6, datatype=0))  # L6_0
ndrom2.add(gdstk.FlexPath([(-96.8195,29.292),(-96.8195,33.846),(-48.5285,33.846)], 3, ends="flush", simple_path=True, layer=6, datatype=0))  # L6_0
ndrom2.add(gdstk.FlexPath([(-32.4965,56.3025),(-32.4965,58.405),(5.8645,58.405),(5.8645,50.3575)], 3, ends="flush", simple_path=True, layer=6, datatype=0))  # L6_0
ndrom2.add(gdstk.FlexPath([(-13.1925,-3.977),(-13.1925,-59.226),(-67.3065,-59.226)], 3, ends="flush", simple_path=True, layer=6, datatype=0))  # L6_0
ndrom2.add(gdstk.FlexPath([(-11.6925,-59.226),(15.942,-59.226),(15.942,58.405),(6.5455,58.405)], 3, ends="flush", simple_path=True, layer=1, datatype=0))  # L1_0
ndrom2.add(gdstk.FlexPath([(-32.4965,46.1085),(-32.4965,53.812)], 3, ends="flush", simple_path=True, layer=1, datatype=0))  # L1_0
ndrom2.add(gdstk.FlexPath([(38.858,21.619),(38.858,24.119)], 0.25, ends="flush", simple_path=True, layer=45, datatype=0))  # L45_0
ndrom2.add(gdstk.FlexPath([(-35.882,48.319),(-35.882,50.819)], 0.25, ends="flush", simple_path=True, layer=45, datatype=0))  # L45_0
ndrom2.add(gdstk.FlexPath([(-76.912,-36.9405),(-76.912,-34.4405)], 0.25, ends="flush", simple_path=True, layer=45, datatype=0))  # L45_0
ndrom2.add(gdstk.FlexPath([(-111.1105,-2.705),(-111.1105,-0.205)], 0.25, ends="flush", simple_path=True, layer=45, datatype=0))  # L45_0
ndrom2.add(gdstk.FlexPath([(42.7065,2.482),(42.7065,2.732)], 0.005, ends="flush", simple_path=True, layer=45, datatype=0))  # L45_0
ndrom2.add(gdstk.Reference(pwrcell_pcell_0bb1, (-68.543,-35.9405), rotation=pi))
ndrom2.add(gdstk.Reference(pwrcell_pcell_0bb1, (28.453,16.834), rotation=pi))
ndrom2.add(gdstk.Reference(pwrcell_pcell_0bb1, (-17.421,49.565), rotation=3*pi/2))
ndrom2.add(gdstk.Reference(pwrcell_pcell_0bb1, (-96.8195,4.7885)))
ndrom2.add(gdstk.Reference(pwrcell_pcell_d53e, (-47.2985,4.7885)))
ndrom2.add(gdstk.Reference(jj_s_pcell_34fb, (-24.092,49.569), rotation=pi, x_reflection=True))
ndrom2.add(gdstk.Reference(jj_s_pcell_34fb, (-68.543,-29.2695), rotation=pi))
ndrom2.add(gdstk.Reference(jj_s_pcell_34fb, (-96.8195,-1.8825)))
ndrom2.add(gdstk.Reference(jj_s_pcell_e6a0, (-54.8845,-32.697), rotation=pi/2))
ndrom2.add(gdstk.Reference(jj_s_pcell_e6a0, (-79.1545,-1.455), rotation=pi/2))
ndrom2.add(gdstk.Reference(jj_s_pcell_0a7e, (-47.2985,-1.591)))
ndrom2.add(gdstk.Reference(jj_s_pcell_64e8, (-25.4445,-24.926)))
ndrom2.add(gdstk.Reference(jj_s_pcell_74b5, (-24.3775,2.331), rotation=pi))
ndrom2.add(gdstk.Reference(jj_s_pcell_bb5e, (2.1515,20.3135)))
ndrom2.add(gdstk.Reference(jj_s_pcell_7e54, (2.484,32.5915), rotation=3*pi/2))
ndrom2.add(gdstk.Reference(ind2_pcell_750f, (-35.42,0.7885)))
ndrom2.add(gdstk.Reference(pwrcell_pcell_a26d, (-13.1925,22.869), rotation=pi))
ndrom2.add(gdstk.Reference(ind2_pcell_3b20, (-33.159,-30.4535)))
ndrom2.add(gdstk.Reference(jj_s_pcell_f0fd, (28.453,22.869), rotation=pi))
ndrom2.add(gdstk.Reference(ind2_pcell_df35, (-106.6155,-1.455)))
ndrom2.add(gdstk.Reference(ind2_pcell_3736, (-24.2715,-10.7115), rotation=pi/2))
ndrom2.add(gdstk.Reference(ind2_pcell_cd6a, (-32.637,49.569)))
ndrom2.add(gdstk.Reference(ind2_pcell_cd6a, (-16.96,22.869)))
ndrom2.add(gdstk.Reference(ind2_pcell_062b, (15.543,22.869)))
ndrom2.add(gdstk.Reference(ind2_pcell_3783, (-7.9425,22.869)))
ndrom2.add(gdstk.Reference(ind2_pcell_0986, (2.1515,26.618), rotation=3*pi/2))
ndrom2.add(gdstk.Reference(ind2_pcell_4fa6, (35.988,22.869)))
ndrom2.add(gdstk.Reference(ind2_pcell_1258, (-14.671,44.19), rotation=3*pi/2))
ndrom2.add(gdstk.Reference(ind2_pcell_84ba, (-72.792,-35.6905)))
ndrom2.add(gdstk.Reference(ind2_pcell_ab88, (-62.7625,-35.9405)))
ndrom2.add(gdstk.Reference(ind2_pcell_e4a9, (-56.053,0.7885)))
ndrom2.add(gdstk.Reference(ind2_pcell_e4a9, (-87.7735,-1.455)))
ndrom2.add(gdstk.Label('IB1 M2 R2', (5.8645,49.565), layer=52, texttype=0))
ndrom2.add(gdstk.Label('IB2 M2 R2', (28.453,-6.4515), layer=52, texttype=0))
ndrom2.add(gdstk.Label('IB3 M2 R2', (-13.1925,-2.8145), layer=52, texttype=0))
ndrom2.add(gdstk.Label('IB4 M2 R2', (-68.543,-59.226), layer=52, texttype=0))
ndrom2.add(gdstk.Label('IB5 M2 R2', (-47.2985,33.846), layer=52, texttype=0))
ndrom2.add(gdstk.Label('IB6 M2 R2', (-96.8195,28.074), layer=52, texttype=0))
ndrom2.add(gdstk.Label('J1 M2 M1', (-24.092,49.569), layer=52, texttype=0))
ndrom2.add(gdstk.Label('Prb1 M2 R2', (-24.092,42.898), layer=52, texttype=0))
ndrom2.add(gdstk.Label('J2 M2 M1', (28.453,22.869), layer=52, texttype=0))
ndrom2.add(gdstk.Label('Prb2 M2 R2', (28.453,28.904), layer=52, texttype=0))
ndrom2.add(gdstk.Label('J3 M2 M1', (2.1515,20.3135), layer=52, texttype=0))
ndrom2.add(gdstk.Label('Prb3 M2 R2', (2.1515,13.7575), layer=52, texttype=0))
ndrom2.add(gdstk.Label('J4 M2 M1', (-25.4445,-24.926), layer=52, texttype=0))
ndrom2.add(gdstk.Label('Prb4 M2 R2', (-25.4445,-31.6415), layer=52, texttype=0))
ndrom2.add(gdstk.Label('J5 M2 M1', (-47.2985,-1.591), layer=52, texttype=0))
ndrom2.add(gdstk.Label('Prb5 M2 R2', (-47.2985,-7.9705), layer=52, texttype=0))
ndrom2.add(gdstk.Label('J6 M2 M1', (2.484,32.5915), layer=52, texttype=0))
ndrom2.add(gdstk.Label('Prb6 M2 R2', (-3.7395,32.5915), layer=52, texttype=0))
ndrom2.add(gdstk.Label('J7 M2 M1', (-24.3775,2.331), layer=52, texttype=0))
ndrom2.add(gdstk.Label('Prb7 M2 R2', (-24.3775,7.8735), layer=52, texttype=0))
ndrom2.add(gdstk.Label('J8 M2 M1', (-68.543,-29.2695), layer=52, texttype=0))
ndrom2.add(gdstk.Label('Prb8 M2 R2', (-68.543,-22.5985), layer=52, texttype=0))
ndrom2.add(gdstk.Label('J9 M2 M1', (-79.1545,-1.455), layer=52, texttype=0))
ndrom2.add(gdstk.Label('Prb9 M2 R2', (-72.911,-1.455), layer=52, texttype=0))
ndrom2.add(gdstk.Label('J10 M2 M1', (-96.8195,-1.8825), layer=52, texttype=0))
ndrom2.add(gdstk.Label('Prb10 M2 R2', (-96.8195,-8.5535), layer=52, texttype=0))
ndrom2.add(gdstk.Label('J11 M2 M1', (-54.8845,-32.697), layer=52, texttype=0))
ndrom2.add(gdstk.Label('Prb11 M2 R2', (-48.641,-32.697), layer=52, texttype=0))
ndrom2.add(gdstk.Label('PL4 M2 M0', (38.858,22.869), layer=52, texttype=0))
ndrom2.add(gdstk.Label('PL7 M2 M0', (-35.882,49.569), layer=52, texttype=0))
ndrom2.add(gdstk.Label('PL12 M2 M0', (-76.912,-35.6905), layer=52, texttype=0))
ndrom2.add(gdstk.Label('PL15 M2 M0', (-111.1105,-1.455), layer=52, texttype=0))
ndrom2.add(gdstk.Label('Pdc M2 M0', (42.7065,2.607), layer=52, texttype=0))

lib.write_gds('NDROM2.gds')
